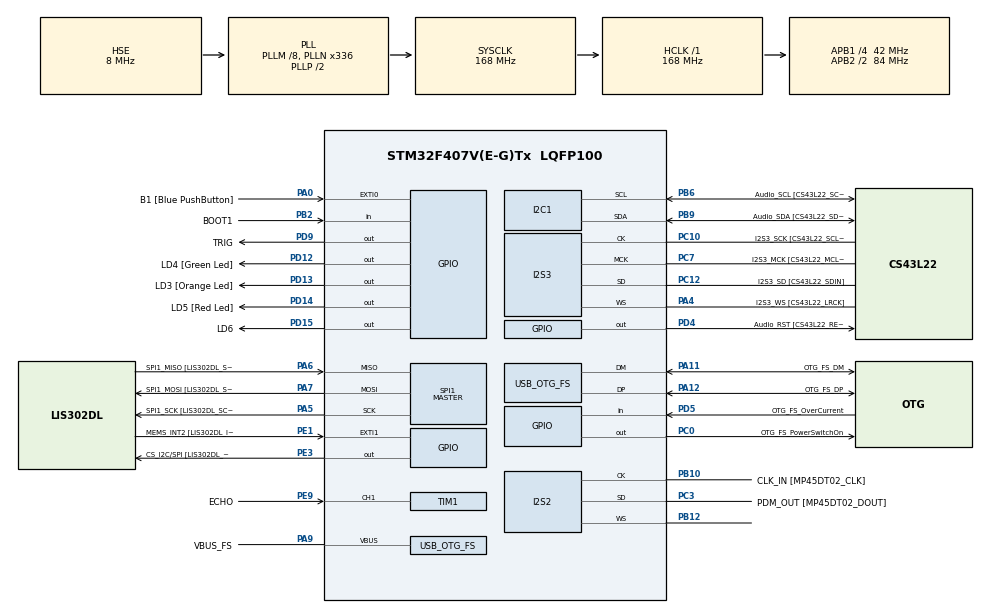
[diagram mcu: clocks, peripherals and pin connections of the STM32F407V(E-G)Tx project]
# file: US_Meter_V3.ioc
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I2S2.ErrorAudioFreq=0.0 %
I2S2.FullDuplexMode=I2S_FULLDUPLEXMODE_DISABLE
I2S2.Instance=SPI$Index
I2S2.RealAudioFreq=8.0 KHz
I2S2.VirtualMode=I2S_MODE_MASTER
I2S3.AudioFreq-Half_Duplex_Master=I2S_AUDIOFREQ_96K
I2S3.ErrorAudioFreq=-2.34 %
I2S3.ErrorAudioFreq-Half_Duplex_Master=0.8 %
I2S3.FullDuplexMode=I2S_FULLDUPLEXMODE_DISABLE
I2S3.Instance=SPI$Index
I2S3.RealAudioFreq=93.75 KHz
I2S3.RealAudioFreq-Half_Duplex_Master=96.774 KHz
I2S3.VirtualMode=I2S_MODE_MASTER
Mcu.Family=STM32F4
Mcu.Name=STM32F407V(E-G)Tx
Mcu.Package=LQFP100
NVIC.OTG_FS_IRQn=true\:0\:0\:false\:false\:true\:true\:true
NVIC.PriorityGroup=NVIC_PRIORITYGROUP_0
NVIC.TIM1_CC_IRQn=true\:0\:0\:false\:false\:true\:true\:true
PA0-WKUP.GPIO_Label=B1 [Blue PushButton]
PA0-WKUP.GPIO_ModeDefaultEXTI=GPIO_MODE_EVT_RISING
PA0-WKUP.GPIO_PuPd=GPIO_NOPULL
PA0-WKUP.Signal=GPXTI0
PA11.GPIO_Label=OTG_FS_DM
PA11.GPIO_Mode=GPIO_MODE_AF_PP
PA11.GPIO_PuPd=GPIO_NOPULL
PA11.GPIO_Speed=GPIO_SPEED_FREQ_LOW
PA11.Mode=Host_Only
PA11.Signal=USB_OTG_FS_DM
PA12.GPIO_Label=OTG_FS_DP
PA12.GPIO_Mode=GPIO_MODE_AF_PP
PA12.GPIO_PuPd=GPIO_NOPULL
PA12.GPIO_Speed=GPIO_SPEED_FREQ_LOW
PA12.Mode=Host_Only
PA12.Signal=USB_OTG_FS_DP
PA13.GPIO_Label=SWDIO
PA13.Mode=Serial_Wire
PA13.Signal=SYS_JTMS-SWDIO
PA14.GPIO_Label=SWCLK
PA14.Mode=Serial_Wire
PA14.Signal=SYS_JTCK-SWCLK
PA4.GPIO_Label=I2S3_WS [CS43L22_LRCK]
PA4.GPIO_Mode=GPIO_MODE_AF_PP
PA4.GPIO_PuPd=GPIO_NOPULL
PA4.GPIO_Speed=GPIO_SPEED_FREQ_LOW
PA4.Mode=Half_Duplex_Master
PA4.Signal=I2S3_WS
PA5.GPIO_Label=SPI1_SCK [LIS302DL_SCL/SPC]
PA5.GPIO_Mode=GPIO_MODE_AF_PP
PA5.GPIO_PuPd=GPIO_NOPULL
PA5.GPIO_Speed=GPIO_SPEED_FREQ_LOW
PA5.Mode=Full_Duplex_Master
PA5.Signal=SPI1_SCK
PA6.GPIO_Label=SPI1_MISO [LIS302DL_SDO]
PA6.GPIO_Mode=GPIO_MODE_AF_PP
PA6.GPIO_PuPd=GPIO_NOPULL
PA6.GPIO_Speed=GPIO_SPEED_FREQ_LOW
PA6.Mode=Full_Duplex_Master
PA6.Signal=SPI1_MISO
PA7.GPIO_Label=SPI1_MOSI [LIS302DL_SDA/SDI/SDO]
PA7.GPIO_Mode=GPIO_MODE_AF_PP
PA7.GPIO_PuPd=GPIO_NOPULL
PA7.GPIO_Speed=GPIO_SPEED_FREQ_LOW
PA7.Mode=Full_Duplex_Master
PA7.Signal=SPI1_MOSI
PA9.GPIO_Label=VBUS_FS
PA9.GPIO_Mode=GPIO_MODE_INPUT
PA9.GPIO_PuPd=GPIO_NOPULL
PA9.Mode=Activate_VBUS
PA9.Signal=USB_OTG_FS_VBUS
PB10.GPIO_Label=CLK_IN [MP45DT02_CLK]
PB10.GPIO_Mode=GPIO_MODE_AF_PP
PB10.GPIO_PuPd=GPIO_NOPULL
PB10.GPIO_Speed=GPIO_SPEED_FREQ_LOW
PB10.Mode=Half_Duplex_Master
PB10.Signal=I2S2_CK
PB12.Mode=Half_Duplex_Master
PB12.Signal=I2S2_WS
PB2.GPIO_Label=BOOT1
PB2.GPIO_Mode=GPIO_MODE_INPUT
PB2.GPIO_PuPd=GPIO_NOPULL
PB2.Signal=GPIO_Input
PB6.GPIO_Label=Audio_SCL [CS43L22_SCL]
PB6.GPIO_Mode=GPIO_MODE_AF_OD
PB6.GPIO_Pu=GPIO_PULLUP
PB6.GPIO_PuPd=GPIO_NOPULL
PB6.GPIO_Speed=GPIO_SPEED_FREQ_LOW
PB6.Mode=I2C
PB6.Signal=I2C1_SCL
PB9.GPIO_Label=Audio_SDA [CS43L22_SDA]
PB9.GPIO_Mode=GPIO_MODE_AF_OD
PB9.GPIO_Pu=GPIO_PULLUP
PB9.GPIO_PuPd=GPIO_NOPULL
PB9.GPIO_Speed=GPIO_SPEED_FREQ_LOW
PB9.Mode=I2C
PB9.Signal=I2C1_SDA
PC0.GPIO_Label=OTG_FS_PowerSwitchOn
PC0.GPIO_PuPd=GPIO_NOPULL
PC0.GPIO_Speed=GPIO_SPEED_FREQ_LOW
PC0.PinState=GPIO_PIN_SET
PC0.Signal=GPIO_Output
PC10.GPIO_Label=I2S3_SCK [CS43L22_SCLK]
PC10.GPIO_Mode=GPIO_MODE_AF_PP
PC10.GPIO_PuPd=GPIO_NOPULL
PC10.GPIO_Speed=GPIO_SPEED_FREQ_LOW
PC10.Mode=Half_Duplex_Master
PC10.Signal=I2S3_CK
PC12.GPIO_Label=I2S3_SD [CS43L22_SDIN]
PC12.GPIO_Mode=GPIO_MODE_AF_PP
PC12.GPIO_PuPd=GPIO_NOPULL
PC12.GPIO_Speed=GPIO_SPEED_FREQ_LOW
PC12.Mode=Half_Duplex_Master
PC12.Signal=I2S3_SD
PC14-OSC32_IN.GPIO_Label=PC14-OSC32_IN
PC14-OSC32_IN.Mode=LSE-External-Oscillator
PC14-OSC32_IN.Signal=RCC_OSC32_IN
PC15-OSC32_OUT.GPIO_Label=PC15-OSC32_OUT
PC15-OSC32_OUT.Mode=LSE-External-Oscillator
PC15-OSC32_OUT.Signal=RCC_OSC32_OUT
PC3.GPIO_Label=PDM_OUT [MP45DT02_DOUT]
PC3.GPIO_Mode=GPIO_MODE_AF_PP
PC3.GPIO_PuPd=GPIO_NOPULL
PC3.GPIO_Speed=GPIO_SPEED_FREQ_LOW
PC3.Mode=Half_Duplex_Master
PC3.Signal=I2S2_SD
PC7.GPIO_Label=I2S3_MCK [CS43L22_MCLK]
PC7.GPIO_Mode=GPIO_MODE_AF_PP
PC7.GPIO_PuPd=GPIO_NOPULL
PC7.GPIO_Speed=GPIO_SPEED_FREQ_LOW
PC7.Mode=Master_Clock_Activated
PC7.Signal=I2S3_MCK
PD12.GPIO_Label=LD4 [Green Led]
PD12.GPIO_PuPd=GPIO_NOPULL
PD12.GPIO_Speed=GPIO_SPEED_FREQ_LOW
PD12.Signal=GPIO_Output
PD13.GPIO_Label=LD3 [Orange Led]
PD13.GPIO_PuPd=GPIO_NOPULL
PD13.GPIO_Speed=GPIO_SPEED_FREQ_LOW
PD13.Signal=GPIO_Output
PD14.GPIO_Label=LD5 [Red Led]
PD14.GPIO_PuPd=GPIO_NOPULL
PD14.GPIO_Speed=GPIO_SPEED_FREQ_LOW
PD14.Signal=GPIO_Output
PD15.GPIO_Label=LD6
PD15.GPIO_PuPd=GPIO_NOPULL
PD15.GPIO_Speed=GPIO_SPEED_FREQ_LOW
PD15.Signal=GPIO_Output
PD4.GPIO_Label=Audio_RST [CS43L22_RESET]
PD4.GPIO_PuPd=GPIO_NOPULL
PD4.GPIO_Speed=GPIO_SPEED_FREQ_LOW
PD4.Signal=GPIO_Output
PD5.GPIO_Label=OTG_FS_OverCurrent
PD5.GPIO_Mode=GPIO_MODE_INPUT
PD5.GPIO_PuPd=GPIO_NOPULL
PD5.Signal=GPIO_Input
PD9.GPIO_Label=TRIG
PD9.Signal=GPIO_Output
PE1.GPIO_Label=MEMS_INT2 [LIS302DL_INT2]
PE1.GPIO_ModeDefaultEXTI=GPIO_MODE_EVT_RISING
PE1.GPIO_PuPd=GPIO_NOPULL
PE1.Signal=GPXTI1
PE3.GPIO_Label=CS_I2C/SPI [LIS302DL_CS_I2C/SPI]
PE3.GPIO_PuPd=GPIO_NOPULL
PE3.GPIO_Speed=GPIO_SPEED_FREQ_LOW
PE3.Signal=GPIO_Output
PE9.GPIO_Label=ECHO
PE9.Signal=S_TIM1_CH1
PH0-OSC_IN.GPIO_Label=PH0-OSC_IN
PH0-OSC_IN.Mode=HSE-External-Oscillator
PH0-OSC_IN.Signal=RCC_OSC_IN
PH1-OSC_OUT.GPIO_Label=PH1-OSC_OUT
PH1-OSC_OUT.Mode=HSE-External-Oscillator
PH1-OSC_OUT.Signal=RCC_OSC_OUT
ProjectManager.HeapSize=0x200
ProjectManager.StackSize=0x400
ProjectManager.TargetToolchain=STM32CubeIDE
RCC.48MHZClocksFreq_Value=48000000
RCC.AHBFreq_Value=168000000
RCC.APB1CLKDivider=RCC_HCLK_DIV4
RCC.APB1Freq_Value=42000000
RCC.APB1TimFreq_Value=84000000
RCC.APB2CLKDivider=RCC_HCLK_DIV2
RCC.APB2Freq_Value=84000000
RCC.APB2TimFreq_Value=168000000
RCC.CortexFreq_Value=168000000
RCC.HCLKFreq_Value=168000000
RCC.HSE_VALUE=8000000
RCC.HSI_VALUE=16000000
RCC.PLLM=8
RCC.PLLN=336
RCC.PLLQ=7
RCC.SYSCLKFreq_VALUE=168000000
RCC.SYSCLKSource=RCC_SYSCLKSOURCE_PLLCLK
RCC.VCOOutputFreq_Value=336000000
SH.S_TIM1_CH1.0=TIM1_CH1,Input_Capture1_from_TI1
SPI1.BaudRatePrescaler-Full_Duplex_Master=SPI_BAUDRATEPRESCALER_2
SPI1.CalculateBaudRate-Full_Duplex_Master=42.0 MBits/s
SPI1.Direction=SPI_DIRECTION_2LINES
SPI1.Mode=SPI_MODE_MASTER
SPI1.Mode-Full_Duplex_Master=SPI_MODE_MASTER
SPI1.VirtualType=VM_MASTER
TIM1.Channel-Input_Capture1_from_TI1=TIM_CHANNEL_1
TIM1.Period=0xffff
TIM1.Prescaler=168
USB_HOST.BSP.number=1
USB_HOST.USBH_HandleTypeDef-CDC_FS=hUsbHostFS
USB_HOST.VirtualModeFS=Cdc
USB_HOST0.BSP.STBoard=false
USB_HOST0.BSP.api=Unknown
USB_HOST0.BSP.i2caddr=0
USB_HOST0.BSP.i2creg=0
USB_HOST0.BSP.instance=PC0
USB_HOST0.BSP.ip=GPIO
USB_HOST0.BSP.mode=Output
USB_HOST0.BSP.name=Drive_VBUS_FS
USB_HOST0.BSP.solution=PC0
USB_OTG_FS.VirtualMode=Host_Only
USB_OTG_FS.phy_itface=HCD_PHY_EMBEDDED
VP_USB_HOST_VS_USB_HOST_CDC_FS.Mode=CDC_FS
board=STM32F407G-DISC1

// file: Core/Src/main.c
/* USER CODE BEGIN Header */
/**
  ******************************************************************************
  * @file           : main.c
  * @brief          : Main program body
  ******************************************************************************
  * @attention
  *
  * <h2><center>&copy; Copyright (c) 2021 STMicroelectronics.
  * All rights reserved.</center></h2>
  *
  * This software component is licensed by ST under Ultimate Liberty license
  * SLA0044, the "License"; You may not use this file except in compliance with
  * the License. You may obtain a copy of the License at:
  *                             www.st.com/SLA0044
  *
  ******************************************************************************
  */
/* USER CODE END Header */
#include "main.h"
#include "usb_host.h"

/* USER CODE BEGIN PTD */
typedef enum { false, true } bool; // defining boolean values
/* USER CODE END PTD */

/* USER CODE BEGIN PD */
#define ARR 0xffff
bool Start = false; // Measurement started
uint32_t Read1 = 0; // First captured value
uint32_t Read2 = 0; // Second captured value
uint32_t Diff = 0; // Difference between measurements
uint32_t Dist = 0; // Calculated distance
uint32_t LED_ON = 0; // turn on first LED
/* USER CODE END PD */

I2C_HandleTypeDef hi2c1;

I2S_HandleTypeDef hi2s2;
I2S_HandleTypeDef hi2s3;

SPI_HandleTypeDef hspi1;

TIM_HandleTypeDef htim1;

void SystemClock_Config(void);
void PeriphCommonClock_Config(void);
static void MX_GPIO_Init(void);
static void MX_I2C1_Init(void);
static void MX_I2S3_Init(void);
static void MX_SPI1_Init(void);
static void MX_I2S2_Init(void);
static void MX_TIM1_Init(void);
void MX_USB_HOST_Process(void);

/* USER CODE BEGIN 0 */

void delay_us (uint16_t us)
{
	__HAL_TIM_SET_COUNTER(&htim1,0);  // set the counter value a 0
	while ((uint16_t)__HAL_TIM_GET_COUNTER(&htim1) < us);  // wait for the counter to reach the us input in the parameter

}

void US_TRIG (void){
	/* Triggers pin for 10 us as in HC-SR04 Datasheet */
	HAL_GPIO_WritePin(TRIG_GPIO_Port, TRIG_Pin, GPIO_PIN_SET);
	delay_us (10);
	HAL_GPIO_WritePin(TRIG_GPIO_Port, TRIG_Pin, GPIO_PIN_RESET);

	__HAL_TIM_ENABLE_IT(&htim1, TIM_IT_CC1); // Enable interrupt for tim1 channel 1
}

void HAL_TIM_IC_CaptureCallback(TIM_HandleTypeDef *htim){
	if (htim->Channel == HAL_TIM_ACTIVE_CHANNEL_1)
	{
		if ( Start == false ) {
			Read1 = HAL_TIM_ReadCapturedValue(htim, TIM_CHANNEL_1); // Read first value from Timer
			Start = true;
			__HAL_TIM_SET_CAPTUREPOLARITY(htim, TIM_CHANNEL_1, TIM_INPUTCHANNELPOLARITY_FALLING); // count form high to low
		} else {
			Read2 = HAL_TIM_ReadCapturedValue(htim, TIM_CHANNEL_1); // Read second value from Timer
			Start = false;
			if (Read2 > Read1 ) {
				Diff = Read2 - Read1;
			} else {
				Diff = Read2 + (ARR - Read1);
			}
			Dist = Diff * 0.0343/2; // Distance is time between measurements multiplied by half of the speed of sound (time*(343/2))

			__HAL_TIM_SET_CAPTUREPOLARITY(htim, TIM_CHANNEL_1, TIM_INPUTCHANNELPOLARITY_RISING); // count form low to high
			__HAL_TIM_DISABLE_IT(&htim1, TIM_IT_CC1); // Disable interrupt for tim1 channel 1
		}

	}

}
/* USER CODE END 0 */

int main(void)
{

  /* MCU Configuration--------------------------------------------------------*/

  /* Reset of all peripherals, Initializes the Flash interface and the Systick. */
  HAL_Init();

  /* Configure the system clock */
  SystemClock_Config();

/* Configure the peripherals common clocks */
  PeriphCommonClock_Config();

  /* Initialize all configured peripherals */
  MX_GPIO_Init();
  MX_I2C1_Init();
  MX_I2S3_Init();
  MX_SPI1_Init();
  MX_USB_HOST_Init();
  MX_I2S2_Init();
  MX_TIM1_Init();
  /* USER CODE BEGIN 2 */

	HAL_TIM_IC_Start(&htim1, TIM_CHANNEL_1); // Starts the TIM Input Capture measurement in interrupt mode

  /* USER CODE END 2 */

  /* Infinite loop */
  /* USER CODE BEGIN WHILE */
  while (1)
  {

	  US_TRIG();

	  /* Statement responsive for matching register values for desired distances */

	  if (30 <= Dist && Dist < 50){
		  LED_ON = 0x1000;
	  } else if (20 <= Dist && Dist < 30){
		  LED_ON = 0x3000;
	  } else if (10 <= Dist && Dist < 20){
		  LED_ON = 0x7000;
	  } else if (4 < Dist && Dist < 10){
		  LED_ON = 0xF000;
	  } else {
		  LED_ON = 0;
	  }

	  GPIOD->ODR = LED_ON; // Change register value to power integrated LEDs

	  HAL_Delay(200);

    /* USER CODE END WHILE */
    MX_USB_HOST_Process();

  }
}

void SystemClock_Config(void)
{
  RCC_OscInitTypeDef RCC_OscInitStruct = {0};
  RCC_ClkInitTypeDef RCC_ClkInitStruct = {0};

  /** Configure the main internal regulator output voltage
  */
  __HAL_RCC_PWR_CLK_ENABLE();
  __HAL_PWR_VOLTAGESCALING_CONFIG(PWR_REGULATOR_VOLTAGE_SCALE1);
  /** Initializes the RCC Oscillators according to the specified parameters
  * in the RCC_OscInitTypeDef structure.
  */
  RCC_OscInitStruct.OscillatorType = RCC_OSCILLATORTYPE_HSE;
  RCC_OscInitStruct.HSEState = RCC_HSE_ON;
  RCC_OscInitStruct.PLL.PLLState = RCC_PLL_ON;
  RCC_OscInitStruct.PLL.PLLSource = RCC_PLLSOURCE_HSE;
  RCC_OscInitStruct.PLL.PLLM = 8;
  RCC_OscInitStruct.PLL.PLLN = 336;
  RCC_OscInitStruct.PLL.PLLP = RCC_PLLP_DIV2;
  RCC_OscInitStruct.PLL.PLLQ = 7;
  if (HAL_RCC_OscConfig(&RCC_OscInitStruct) != HAL_OK)
  {
    Error_Handler();
  }
  /** Initializes the CPU, AHB and APB buses clocks
  */
  RCC_ClkInitStruct.ClockType = RCC_CLOCKTYPE_HCLK|RCC_CLOCKTYPE_SYSCLK
                              |RCC_CLOCKTYPE_PCLK1|RCC_CLOCKTYPE_PCLK2;
  RCC_ClkInitStruct.SYSCLKSource = RCC_SYSCLKSOURCE_PLLCLK;
  RCC_ClkInitStruct.AHBCLKDivider = RCC_SYSCLK_DIV1;
  RCC_ClkInitStruct.APB1CLKDivider = RCC_HCLK_DIV4;
  RCC_ClkInitStruct.APB2CLKDivider = RCC_HCLK_DIV2;

  if (HAL_RCC_ClockConfig(&RCC_ClkInitStruct, FLASH_LATENCY_5) != HAL_OK)
  {
    Error_Handler();
  }
}

void PeriphCommonClock_Config(void)
{
  RCC_PeriphCLKInitTypeDef PeriphClkInitStruct = {0};

  /** Initializes the peripherals clock
  */
  PeriphClkInitStruct.PeriphClockSelection = RCC_PERIPHCLK_I2S;
  PeriphClkInitStruct.PLLI2S.PLLI2SN = 192;
  PeriphClkInitStruct.PLLI2S.PLLI2SR = 2;
  if (HAL_RCCEx_PeriphCLKConfig(&PeriphClkInitStruct) != HAL_OK)
  {
    Error_Handler();
  }
}

static void MX_I2C1_Init(void)
{

  hi2c1.Instance = I2C1;
  hi2c1.Init.ClockSpeed = 100000;
  hi2c1.Init.DutyCycle = I2C_DUTYCYCLE_2;
  hi2c1.Init.OwnAddress1 = 0;
  hi2c1.Init.AddressingMode = I2C_ADDRESSINGMODE_7BIT;
  hi2c1.Init.DualAddressMode = I2C_DUALADDRESS_DISABLE;
  hi2c1.Init.OwnAddress2 = 0;
  hi2c1.Init.GeneralCallMode = I2C_GENERALCALL_DISABLE;
  hi2c1.Init.NoStretchMode = I2C_NOSTRETCH_DISABLE;
  if (HAL_I2C_Init(&hi2c1) != HAL_OK)
  {
    Error_Handler();
  }

}

static void MX_I2S2_Init(void)
{

  hi2s2.Instance = SPI2;
  hi2s2.Init.Mode = I2S_MODE_MASTER_TX;
  hi2s2.Init.Standard = I2S_STANDARD_PHILIPS;
  hi2s2.Init.DataFormat = I2S_DATAFORMAT_16B;
  hi2s2.Init.MCLKOutput = I2S_MCLKOUTPUT_DISABLE;
  hi2s2.Init.AudioFreq = I2S_AUDIOFREQ_8K;
  hi2s2.Init.CPOL = I2S_CPOL_LOW;
  hi2s2.Init.ClockSource = I2S_CLOCK_PLL;
  hi2s2.Init.FullDuplexMode = I2S_FULLDUPLEXMODE_DISABLE;
  if (HAL_I2S_Init(&hi2s2) != HAL_OK)
  {
    Error_Handler();
  }

}

static void MX_I2S3_Init(void)
{

  hi2s3.Instance = SPI3;
  hi2s3.Init.Mode = I2S_MODE_MASTER_TX;
  hi2s3.Init.Standard = I2S_STANDARD_PHILIPS;
  hi2s3.Init.DataFormat = I2S_DATAFORMAT_16B;
  hi2s3.Init.MCLKOutput = I2S_MCLKOUTPUT_ENABLE;
  hi2s3.Init.AudioFreq = I2S_AUDIOFREQ_96K;
  hi2s3.Init.CPOL = I2S_CPOL_LOW;
  hi2s3.Init.ClockSource = I2S_CLOCK_PLL;
  hi2s3.Init.FullDuplexMode = I2S_FULLDUPLEXMODE_DISABLE;
  if (HAL_I2S_Init(&hi2s3) != HAL_OK)
  {
    Error_Handler();
  }

}

static void MX_SPI1_Init(void)
{

  /* SPI1 parameter configuration*/
  hspi1.Instance = SPI1;
  hspi1.Init.Mode = SPI_MODE_MASTER;
  hspi1.Init.Direction = SPI_DIRECTION_2LINES;
  hspi1.Init.DataSize = SPI_DATASIZE_8BIT;
  hspi1.Init.CLKPolarity = SPI_POLARITY_LOW;
  hspi1.Init.CLKPhase = SPI_PHASE_1EDGE;
  hspi1.Init.NSS = SPI_NSS_SOFT;
  hspi1.Init.BaudRatePrescaler = SPI_BAUDRATEPRESCALER_2;
  hspi1.Init.FirstBit = SPI_FIRSTBIT_MSB;
  hspi1.Init.TIMode = SPI_TIMODE_DISABLE;
  hspi1.Init.CRCCalculation = SPI_CRCCALCULATION_DISABLE;
  hspi1.Init.CRCPolynomial = 10;
  if (HAL_SPI_Init(&hspi1) != HAL_OK)
  {
    Error_Handler();
  }

}

static void MX_TIM1_Init(void)
{

  TIM_MasterConfigTypeDef sMasterConfig = {0};
  TIM_IC_InitTypeDef sConfigIC = {0};

  htim1.Instance = TIM1;
  htim1.Init.Prescaler = 168;
  htim1.Init.CounterMode = TIM_COUNTERMODE_UP;
  htim1.Init.Period = 0xffff;
  htim1.Init.ClockDivision = TIM_CLOCKDIVISION_DIV1;
  htim1.Init.RepetitionCounter = 0;
  htim1.Init.AutoReloadPreload = TIM_AUTORELOAD_PRELOAD_DISABLE;
  if (HAL_TIM_IC_Init(&htim1) != HAL_OK)
  {
    Error_Handler();
  }
  sMasterConfig.MasterOutputTrigger = TIM_TRGO_RESET;
  sMasterConfig.MasterSlaveMode = TIM_MASTERSLAVEMODE_DISABLE;
  if (HAL_TIMEx_MasterConfigSynchronization(&htim1, &sMasterConfig) != HAL_OK)
  {
    Error_Handler();
  }
  sConfigIC.ICPolarity = TIM_INPUTCHANNELPOLARITY_RISING;
  sConfigIC.ICSelection = TIM_ICSELECTION_DIRECTTI;
  sConfigIC.ICPrescaler = TIM_ICPSC_DIV1;
  sConfigIC.ICFilter = 0;
  if (HAL_TIM_IC_ConfigChannel(&htim1, &sConfigIC, TIM_CHANNEL_1) != HAL_OK)
  {
    Error_Handler();
  }

}

static void MX_GPIO_Init(void)
{
  GPIO_InitTypeDef GPIO_InitStruct = {0};

  /* GPIO Ports Clock Enable */
  __HAL_RCC_GPIOE_CLK_ENABLE();
  __HAL_RCC_GPIOC_CLK_ENABLE();
  __HAL_RCC_GPIOH_CLK_ENABLE();
  __HAL_RCC_GPIOA_CLK_ENABLE();
  __HAL_RCC_GPIOB_CLK_ENABLE();
  __HAL_RCC_GPIOD_CLK_ENABLE();

  /*Configure GPIO pin Output Level */
  HAL_GPIO_WritePin(CS_I2C_SPI_GPIO_Port, CS_I2C_SPI_Pin, GPIO_PIN_RESET);

  /*Configure GPIO pin Output Level */
  HAL_GPIO_WritePin(OTG_FS_PowerSwitchOn_GPIO_Port, OTG_FS_PowerSwitchOn_Pin, GPIO_PIN_SET);

  /*Configure GPIO pin Output Level */
  HAL_GPIO_WritePin(GPIOD, TRIG_Pin|LD4_Pin|LD3_Pin|LD5_Pin
                          |LD6_Pin|Audio_RST_Pin, GPIO_PIN_RESET);

  /*Configure GPIO pin : CS_I2C_SPI_Pin */
  GPIO_InitStruct.Pin = CS_I2C_SPI_Pin;
  GPIO_InitStruct.Mode = GPIO_MODE_OUTPUT_PP;
  GPIO_InitStruct.Pull = GPIO_NOPULL;
  GPIO_InitStruct.Speed = GPIO_SPEED_FREQ_LOW;
  HAL_GPIO_Init(CS_I2C_SPI_GPIO_Port, &GPIO_InitStruct);

  /*Configure GPIO pin : OTG_FS_PowerSwitchOn_Pin */
  GPIO_InitStruct.Pin = OTG_FS_PowerSwitchOn_Pin;
  GPIO_InitStruct.Mode = GPIO_MODE_OUTPUT_PP;
  GPIO_InitStruct.Pull = GPIO_NOPULL;
  GPIO_InitStruct.Speed = GPIO_SPEED_FREQ_LOW;
  HAL_GPIO_Init(OTG_FS_PowerSwitchOn_GPIO_Port, &GPIO_InitStruct);

  /*Configure GPIO pin : B1_Pin */
  GPIO_InitStruct.Pin = B1_Pin;
  GPIO_InitStruct.Mode = GPIO_MODE_EVT_RISING;
  GPIO_InitStruct.Pull = GPIO_NOPULL;
  HAL_GPIO_Init(B1_GPIO_Port, &GPIO_InitStruct);

  /*Configure GPIO pin : BOOT1_Pin */
  GPIO_InitStruct.Pin = BOOT1_Pin;
  GPIO_InitStruct.Mode = GPIO_MODE_INPUT;
  GPIO_InitStruct.Pull = GPIO_NOPULL;
  HAL_GPIO_Init(BOOT1_GPIO_Port, &GPIO_InitStruct);

  /*Configure GPIO pins : TRIG_Pin LD4_Pin LD3_Pin LD5_Pin
                           LD6_Pin Audio_RST_Pin */
  GPIO_InitStruct.Pin = TRIG_Pin|LD4_Pin|LD3_Pin|LD5_Pin
                          |LD6_Pin|Audio_RST_Pin;
  GPIO_InitStruct.Mode = GPIO_MODE_OUTPUT_PP;
  GPIO_InitStruct.Pull = GPIO_NOPULL;
  GPIO_InitStruct.Speed = GPIO_SPEED_FREQ_LOW;
  HAL_GPIO_Init(GPIOD, &GPIO_InitStruct);

  /*Configure GPIO pin : OTG_FS_OverCurrent_Pin */
  GPIO_InitStruct.Pin = OTG_FS_OverCurrent_Pin;
  GPIO_InitStruct.Mode = GPIO_MODE_INPUT;
  GPIO_InitStruct.Pull = GPIO_NOPULL;
  HAL_GPIO_Init(OTG_FS_OverCurrent_GPIO_Port, &GPIO_InitStruct);

  /*Configure GPIO pin : MEMS_INT2_Pin */
  GPIO_InitStruct.Pin = MEMS_INT2_Pin;
  GPIO_InitStruct.Mode = GPIO_MODE_EVT_RISING;
  GPIO_InitStruct.Pull = GPIO_NOPULL;
  HAL_GPIO_Init(MEMS_INT2_GPIO_Port, &GPIO_InitStruct);

}

void Error_Handler(void)
{
  __disable_irq();
  while (1)
  {
  }
}

/************************ (C) COPYRIGHT STMicroelectronics *****END OF FILE****/
